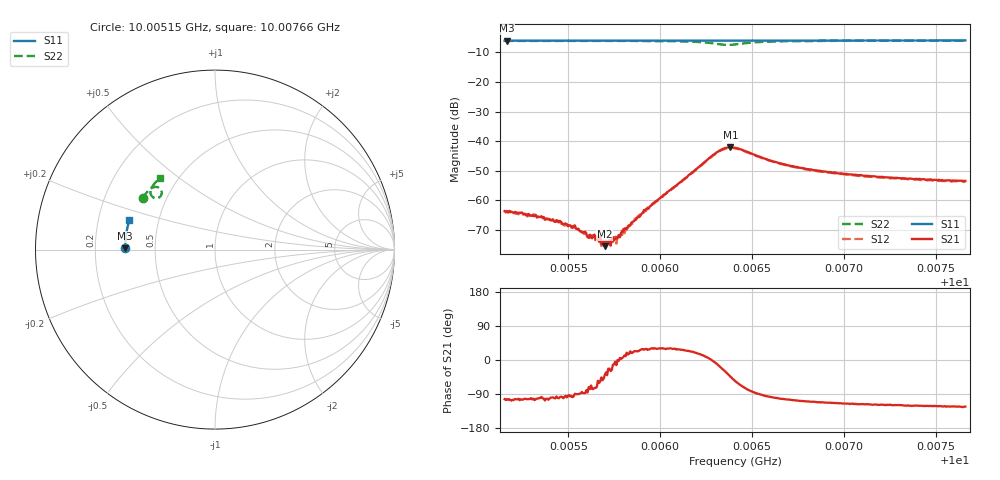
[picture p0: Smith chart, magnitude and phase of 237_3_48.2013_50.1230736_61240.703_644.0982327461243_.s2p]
#  HZ  S  RI  R  50.00
! Rohde & Schwarz Vector Network Analyzer
! Rohde-Schwarz,ZNB20-2Port,1311601062101988,3.16
! Created: UTC 3/20/2024, 11:46:42 AM
! freq[Hz]  re:S11  im:S11  re:S21  im:S21  re:S12  im:S12  re:S22  im:S22
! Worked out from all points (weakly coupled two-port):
!   401 points, 10.00515 GHz to 10.00766 GHz, reference 50 ohm
!   highest |S21| = -42.12 dB at 10.00638 GHz (marker M1); lowest = -75.6 dB at 10.0057 GHz (marker M2)
!   lowest |S11| = -6.0 dB at 10.00517 GHz (marker M3), VSWR 3.00, Z = 16.7 + j0.37 ohm
!   |S11| at or under -10 dB: nowhere
!   |S22| runs from -7.4 to -6.0 dB; largest |S21 - S12| = 0.00045
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1.0005153e10  -0.5 0.00756  -0.00015 -0.000635  -0.000125 -0.000647  -0.4037 0.287
1.0005166e10  -0.4999 0.00833  -0.000147 -0.000618  -0.000136 -0.000642  -0.4031 0.2877
1.0005322e10  -0.4999 0.0186  -0.000132 -0.000549  -0.00011 -0.000533  -0.397 0.2971
1.0005448e10  -0.4998 0.0267  -8.03e-05 -0.00041  -4.25e-05 -0.000455  -0.3917 0.3045
1.0005542e10  -0.4996 0.0329  -7.89e-07 -0.00033  -3.27e-05 -0.00033  -0.3874 0.3103
1.0005573e10  -0.4997 0.0348  2.84e-05 -0.000283  1.36e-05 -0.000295  -0.3858 0.3121
1.0005617e10  -0.4995 0.0377  5.85e-05 -0.000253  4.96e-05 -0.000223  -0.3837 0.3148
1.000563e10  -0.4996 0.0385  5.22e-05 -0.00022  6.55e-05 -0.000247  -0.3831 0.3155
1.0005699e10  -0.4992 0.0431  0.000129 -0.000105  0.000124 -0.000132  -0.3795 0.3197
1.0005724e10  -0.4991 0.0445  0.000193 -8.18e-05  0.00018 -9.42e-05  -0.3782 0.3214
1.0005768e10  -0.4991 0.0474  0.000225 -5.03e-07  0.000254 9.28e-07  -0.3755 0.3244
1.0005799e10  -0.4988 0.0496  0.000292 3.67e-05  0.000319 5.68e-05  -0.3738 0.3263
1.0005874e10  -0.4985 0.0545  0.000463 0.0002  0.000464 0.000193  -0.3687 0.3312
1.0005993e10  -0.4978 0.0621  0.000911 0.00053  0.000877 0.000574  -0.3589 0.3393
1.0006294e10  -0.495 0.0815  0.00598 -0.000561  0.00587 -0.00024  -0.3008 0.3322
1.0006338e10  -0.4946 0.084  0.00671 -0.00284  0.00665 -0.00248  -0.2974 0.3105
1.0006382e10  -0.4942 0.0866  0.00564 -0.00544  0.00581 -0.00503  -0.3113 0.2907
1.0006407e10  -0.4941 0.0881  0.00442 -0.00632  0.00463 -0.00598  -0.324 0.2861
1.0006608e10  -0.4926 0.1008  -0.000669 -0.00455  -0.000456 -0.00452  -0.3597 0.3239
1.0006828e10  -0.4901 0.1149  -0.00112 -0.00307  -0.000929 -0.00305  -0.3507 0.3492
1.0007248e10  -0.4841 0.1414  -0.00115 -0.00212  -0.00104 -0.00214  -0.3293 0.3767
1.0007662e10  -0.4766 0.1671  -0.00115 -0.00178  -0.00101 -0.00178  -0.3081 0.3972
